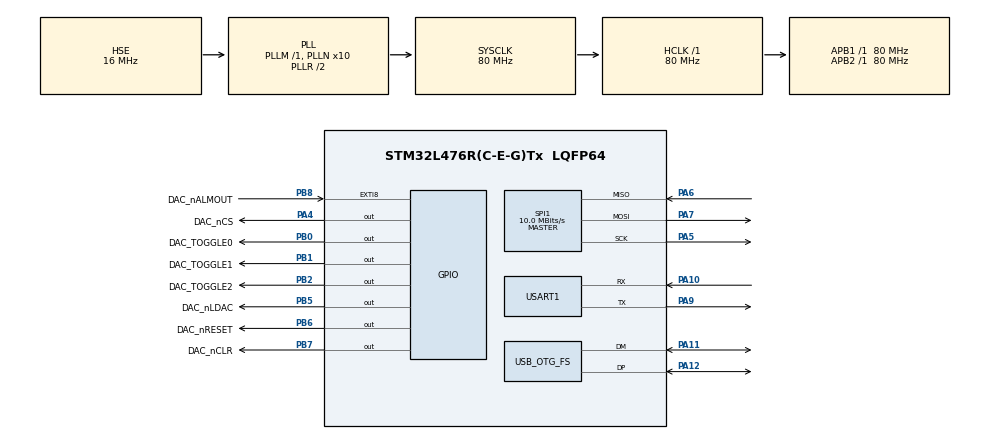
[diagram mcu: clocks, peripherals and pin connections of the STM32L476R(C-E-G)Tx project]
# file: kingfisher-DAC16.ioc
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CRC.CRCLength=CRC_POLYLENGTH_8B
CRC.DefaultInitValueUse=DEFAULT_INIT_VALUE_DISABLE
CRC.DefaultPolynomialUse=DEFAULT_POLYNOMIAL_DISABLE
Dma.MEMTOMEM.4.Direction=DMA_MEMORY_TO_MEMORY
Dma.MEMTOMEM.4.Instance=DMA1_Channel1
Dma.MEMTOMEM.4.MemDataAlignment=DMA_MDATAALIGN_BYTE
Dma.MEMTOMEM.4.MemInc=DMA_MINC_ENABLE
Dma.MEMTOMEM.4.Mode=DMA_NORMAL
Dma.MEMTOMEM.4.PeriphDataAlignment=DMA_PDATAALIGN_BYTE
Dma.MEMTOMEM.4.PeriphInc=DMA_PINC_ENABLE
Dma.MEMTOMEM.4.Priority=DMA_PRIORITY_LOW
Dma.Request0=SPI1_TX
Dma.Request1=SPI1_RX
Dma.Request2=USART1_TX
Dma.Request3=USART1_RX
Dma.Request4=MEMTOMEM
Dma.SPI1_RX.1.Direction=DMA_PERIPH_TO_MEMORY
Dma.SPI1_RX.1.Instance=DMA1_Channel2
Dma.SPI1_RX.1.MemDataAlignment=DMA_MDATAALIGN_BYTE
Dma.SPI1_RX.1.MemInc=DMA_MINC_ENABLE
Dma.SPI1_RX.1.Mode=DMA_NORMAL
Dma.SPI1_RX.1.PeriphDataAlignment=DMA_PDATAALIGN_BYTE
Dma.SPI1_RX.1.PeriphInc=DMA_PINC_DISABLE
Dma.SPI1_RX.1.Priority=DMA_PRIORITY_LOW
Dma.SPI1_TX.0.Direction=DMA_MEMORY_TO_PERIPH
Dma.SPI1_TX.0.Instance=DMA1_Channel3
Dma.SPI1_TX.0.MemDataAlignment=DMA_MDATAALIGN_BYTE
Dma.SPI1_TX.0.MemInc=DMA_MINC_ENABLE
Dma.SPI1_TX.0.Mode=DMA_NORMAL
Dma.SPI1_TX.0.PeriphDataAlignment=DMA_PDATAALIGN_BYTE
Dma.SPI1_TX.0.PeriphInc=DMA_PINC_DISABLE
Dma.SPI1_TX.0.Priority=DMA_PRIORITY_LOW
Dma.USART1_RX.3.Direction=DMA_PERIPH_TO_MEMORY
Dma.USART1_RX.3.Instance=DMA1_Channel5
Dma.USART1_RX.3.MemDataAlignment=DMA_MDATAALIGN_BYTE
Dma.USART1_RX.3.MemInc=DMA_MINC_ENABLE
Dma.USART1_RX.3.Mode=DMA_NORMAL
Dma.USART1_RX.3.PeriphDataAlignment=DMA_PDATAALIGN_BYTE
Dma.USART1_RX.3.PeriphInc=DMA_PINC_DISABLE
Dma.USART1_RX.3.Priority=DMA_PRIORITY_LOW
Dma.USART1_TX.2.Direction=DMA_MEMORY_TO_PERIPH
Dma.USART1_TX.2.Instance=DMA1_Channel4
Dma.USART1_TX.2.MemDataAlignment=DMA_MDATAALIGN_BYTE
Dma.USART1_TX.2.MemInc=DMA_MINC_ENABLE
Dma.USART1_TX.2.Mode=DMA_NORMAL
Dma.USART1_TX.2.PeriphDataAlignment=DMA_PDATAALIGN_BYTE
Dma.USART1_TX.2.PeriphInc=DMA_PINC_DISABLE
Dma.USART1_TX.2.Priority=DMA_PRIORITY_LOW
Mcu.Family=STM32L4
Mcu.Name=STM32L476R(C-E-G)Tx
Mcu.Package=LQFP64
NVIC.DMA1_Channel2_IRQn=true\:0\:0\:false\:false\:true\:false\:true\:true
NVIC.DMA1_Channel3_IRQn=true\:0\:0\:false\:false\:true\:false\:true\:true
NVIC.DMA1_Channel4_IRQn=true\:0\:0\:false\:false\:true\:false\:true\:true
NVIC.DMA1_Channel5_IRQn=true\:0\:0\:false\:false\:true\:false\:true\:true
NVIC.OTG_FS_IRQn=true\:0\:0\:false\:false\:true\:false\:true\:true
NVIC.PriorityGroup=NVIC_PRIORITYGROUP_4
NVIC.TIM1_UP_TIM16_IRQn=true\:15\:0\:false\:false\:true\:false\:true\:true
NVIC.TimeBase=TIM1_UP_TIM16_IRQn
NVIC.TimeBaseIP=TIM1
PA10.Mode=Asynchronous
PA10.Signal=USART1_RX
PA11.Mode=Device_Only
PA11.Signal=USB_OTG_FS_DM
PA12.Mode=Device_Only
PA12.Signal=USB_OTG_FS_DP
PA13\ (JTMS-SWDIO).Mode=Trace_Asynchronous_SW
PA13\ (JTMS-SWDIO).Signal=SYS_JTMS-SWDIO
PA14\ (JTCK-SWCLK).Mode=Trace_Asynchronous_SW
PA14\ (JTCK-SWCLK).Signal=SYS_JTCK-SWCLK
PA4.GPIO_Label=DAC_nCS
PA4.Signal=GPIO_Output
PA5.Mode=Full_Duplex_Master
PA5.Signal=SPI1_SCK
PA6.Mode=Full_Duplex_Master
PA6.Signal=SPI1_MISO
PA7.Mode=Full_Duplex_Master
PA7.Signal=SPI1_MOSI
PA9.Mode=Asynchronous
PA9.Signal=USART1_TX
PB0.GPIO_Label=DAC_TOGGLE0
PB0.Signal=GPIO_Output
PB1.GPIO_Label=DAC_TOGGLE1
PB1.Signal=GPIO_Output
PB2.GPIO_Label=DAC_TOGGLE2
PB2.Signal=GPIO_Output
PB3\ (JTDO-TRACESWO).Mode=Trace_Asynchronous_SW
PB3\ (JTDO-TRACESWO).Signal=SYS_JTDO-SWO
PB5.GPIO_Label=DAC_nLDAC
PB5.Signal=GPIO_Output
PB6.GPIO_Label=DAC_nRESET
PB6.Signal=GPIO_Output
PB7.GPIO_Label=DAC_nCLR
PB7.Signal=GPIO_Output
PB8.GPIO_Label=DAC_nALMOUT
PB8.Signal=GPXTI8
PH0-OSC_IN\ (PH0).Mode=HSE-External-Oscillator
PH0-OSC_IN\ (PH0).Signal=RCC_OSC_IN
PH1-OSC_OUT\ (PH1).Mode=HSE-External-Oscillator
PH1-OSC_OUT\ (PH1).Signal=RCC_OSC_OUT
ProjectManager.HeapSize=0x200
ProjectManager.StackSize=0x400
ProjectManager.TargetToolchain=STM32CubeIDE
RCC.ADCFreq_Value=96000000
RCC.AHBFreq_Value=80000000
RCC.APB1Freq_Value=80000000
RCC.APB1TimFreq_Value=80000000
RCC.APB2Freq_Value=80000000
RCC.APB2TimFreq_Value=80000000
RCC.CortexFreq_Value=80000000
RCC.HCLKFreq_Value=80000000
RCC.HSE_VALUE=16000000
RCC.HSI_VALUE=16000000
RCC.LSE_VALUE=32768
RCC.MSI_VALUE=4000000
RCC.PLLN=10
RCC.PLLSAI1N=12
RCC.PLLSAI1Q=RCC_PLLQ_DIV4
RCC.PLLSourceVirtual=RCC_PLLSOURCE_HSE
RCC.SYSCLKFreq_VALUE=80000000
RCC.SYSCLKSource=RCC_SYSCLKSOURCE_PLLCLK
RCC.USBFreq_Value=48000000
RCC.VCOOutputFreq_Value=160000000
SPI1.BaudRatePrescaler=SPI_BAUDRATEPRESCALER_8
SPI1.CLKPhase=SPI_PHASE_2EDGE
SPI1.CRCCalculation=SPI_CRCCALCULATION_DISABLE
SPI1.CalculateBaudRate=10.0 MBits/s
SPI1.DataSize=SPI_DATASIZE_8BIT
SPI1.Direction=SPI_DIRECTION_2LINES
SPI1.Mode=SPI_MODE_MASTER
SPI1.TIMode=SPI_TIMODE_DISABLE
SPI1.VirtualType=VM_MASTER
USART1.VirtualMode-Asynchronous=VM_ASYNC
USB_DEVICE.CLASS_NAME_FS=CDC
USB_DEVICE.MANUFACTURER_STRING=emon.no
USB_DEVICE.PRODUCT_STRING_CDC_FS=KINGFISHER-DAC16
USB_DEVICE.VirtualMode=Cdc
USB_DEVICE.VirtualModeFS=Cdc_FS
USB_OTG_FS.VirtualMode=Device_Only
VP_CRC_VS_CRC.Mode=CRC_Activate
VP_SYS_VS_tim1.Mode=TIM1
VP_USB_DEVICE_VS_USB_DEVICE_CDC_FS.Mode=CDC_FS
board=custom

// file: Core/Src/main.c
/* USER CODE BEGIN Header */
/**
 ******************************************************************************
 * @file           : main.c
 * @brief          : Main program body
 ******************************************************************************
 * @attention
 *
 * Copyright (c) 2024 STMicroelectronics.
 * All rights reserved.
 *
 * This software is licensed under terms that can be found in the LICENSE file
 * in the root directory of this software component.
 * If no LICENSE file comes with this software, it is provided AS-IS.
 *
 ******************************************************************************
 */
/* USER CODE END Header */
#include "main.h"
#include "usb_device.h"

/* USER CODE BEGIN Includes */
//#include "DACx1416_dep.h"
#include "DACx1416.h"
#include "DACx1416_port.h"
#include "usb_device.h"
#include "usbd_cdc_if.h"

#include "fifo_queue.h"
#include "slip.h"
#include "cmdParser.h"
/* USER CODE END Includes */

CRC_HandleTypeDef hcrc;

SPI_HandleTypeDef hspi1;
DMA_HandleTypeDef hdma_spi1_tx;
DMA_HandleTypeDef hdma_spi1_rx;

UART_HandleTypeDef huart1;
DMA_HandleTypeDef hdma_usart1_tx;
DMA_HandleTypeDef hdma_usart1_rx;

DMA_HandleTypeDef hdma_memtomem_dma1_channel1;
/* USER CODE BEGIN PV */
DACx1416 dacUnit;
volatile uint8_t dacUseCRC = 0;
volatile uint8_t dacTransferComplete = 1;

extern uint8_t UserRxBufferFS[APP_RX_DATA_SIZE];
FIFOQueue *cdcRxQueue;
SLIP_HandleTypeDef slip;

/* USER CODE END PV */

void SystemClock_Config(void);
static void MX_GPIO_Init(void);
static void MX_DMA_Init(void);
static void MX_SPI1_Init(void);
static void MX_USART1_UART_Init(void);
static void MX_CRC_Init(void);

/* USER CODE BEGIN 0 */

// Function to receive a single character from the CDC Rx queue
// Function to receive a single character from the CDC Rx queue (blocking)
char cdc_recv_char(void) {
    while (isEmpty(cdcRxQueue)) {
        // Wait for data to be available in the queue
        HAL_Delay(1); // Sleep for 1 ms (adjust based on your system requirements)
    }

    void *value = dequeue(cdcRxQueue);
    if (!value) {
        //printf("Failed to dequeue from CDC Rx queue.\n");
        return 0xFF;  // Return an error value if dequeue fails
    }

    // Bytes are stored as pointer-sized tagged values (byte + 1) in the CDC RX queue.
    uint8_t result = (uint8_t)(((uintptr_t)value) - 1U);
    return result;            // Return the dequeued value
}

void cdc_send_char(char ch) {
    // Cast the char to uint8_t* by passing the address of ch
    while (CDC_Transmit_FS((uint8_t*)&ch, 1) != USBD_OK) {
        // Send the character as a byte over USB
    }
}
// Function called when data is received via USB
/* USER CODE END 0 */

int main(void)
{

  /* MCU Configuration--------------------------------------------------------*/

  /* Reset of all peripherals, Initializes the Flash interface and the Systick. */
  HAL_Init();

  /* Configure the system clock */
  SystemClock_Config();

  /* Initialize all configured peripherals */
  MX_GPIO_Init();
  MX_DMA_Init();
  MX_SPI1_Init();
  MX_USART1_UART_Init();
  MX_USB_DEVICE_Init();
  MX_CRC_Init();
  /* USER CODE BEGIN 2 */
	//HAL_NVIC_SetPriority(SPI1_IRQn, 1, 0);
	//HAL_NVIC_EnableIRQ(SPI1_IRQn);
	dacUnit.port.SPI_transmit = DACx1416_SPI_transmit;
	dacUnit.port.SPI_receive = DACx1416_SPI_receive;
	dacUnit.port.SPI_transmitReceive = DACx1416_SPI_transmitReceive;
	dacUnit.port.nCS = DACx1416_nCS;
	dacUnit.port.nLDAC = DACx1416_nLDAC;
	dacUnit.port.nRESET = DACx1416_nRESET;
	dacUnit.port.nCLR = DACx1416_nCLR;
	dacUnit.port.TGL = DACx1416_tgl;
	dacUnit.port.calculate_crc8 = DACx1416_calculate_crc8;

	DACx1416_initialize(&dacUnit);

//	uint16_t temp;
//	uint16_t temp2;
////
////
////	DACx1416_read_register(&dacUnit, 0x01, &temp2);
////
////	DACx1416_read_register(&dacUnit, DACx1416_REG_SPICONFIG, &temp2);
////
//	temp = 0x1A2A;
//	DACx1416_write_register(&dacUnit, DACx1416_REG_DACPWDWN, &temp);
//	DACx1416_read_register(&dacUnit, DACx1416_REG_DACPWDWN, &temp2);
////
////
//	temp = 0x2A3A;
//	DACx1416_write_register(&dacUnit, DACx1416_REG_DACPWDWN, &temp);
//	DACx1416_read_register(&dacUnit, DACx1416_REG_DACPWDWN, &temp2);
//

//
//	DACx1416_read_register(&dacUnit, DACx1416_REG_SPICONFIG, &temp2);
//
//
//	temp = 0x3A4A;
//	DACx1416_write_register(&dacUnit, DACx1416_REG_DACPWDWN, &temp);
//	DACx1416_read_register(&dacUnit, DACx1416_REG_DACPWDWN, &temp2);
//
//
//	DACx1416_devicePowerDown(&dacUnit, 0);
//	DACx1416_channelRange(&dacUnit, DACx1416_DAC0, DACx1416_DACRANGE_0_to_p5);
//
//	DACx1416_devicePowerDown(&dacUnit, 1);
//	DACx1416_devicePowerDown(&dacUnit, 0);
//
//	DACx1416_channelEnable(&dacUnit, DACx1416_DAC0, 1);
////
////
//	DACx1416_crcEnable(&dacUnit, 0);
//
//	DACx1416_channelValue(&dacUnit, DACx1416_DAC0, 5000);
//	DACx1416_channelValue(&dacUnit, DACx1416_DAC0, 16383);
//	DACx1416_channelValue(&dacUnit, DACx1416_DAC0, 44000);
//	DACx1416_channelValue(&dacUnit, DACx1416_DAC0, 60000);
//	DACx1416_channelValue(&dacUnit, DACx1416_DAC0, 65535);
////

	cdcRxQueue = createQueue();
	if (!cdcRxQueue) {
		//printf("Failed to initialize the global queue.\n");
		return 1;
	}

	slip.recv_char = cdc_recv_char;
	slip.send_char = cdc_send_char;

//
//	asm("nop");
//	asm("nop");
//	asm("nop");

  /* USER CODE END 2 */

  /* Infinite loop */
  /* USER CODE BEGIN WHILE */
	uint8_t slipRxData[1024];
	uint8_t slipTxData[1024] = "HELLO";

	while (1) {
//
//		char c = cdc_recv_char();
//		printf(&c);
//		printf("\r\n");
		//cdc_send_char(c);

		uint32_t len = slip_recv_packet(&slip, slipRxData, sizeof(slipRxData));

		if (len > 0){
			//DACx1416_SPI_transmitReceive((slipRxData, slipTxData, len));
			parseCmd(&slip, slipRxData, len);
			//slip_send_packet(&slip, slipTxData, len);
		}

    /* USER CODE END WHILE */

	}
}

void SystemClock_Config(void)
{
  RCC_OscInitTypeDef RCC_OscInitStruct = {0};
  RCC_ClkInitTypeDef RCC_ClkInitStruct = {0};

  /** Configure the main internal regulator output voltage
  */
  if (HAL_PWREx_ControlVoltageScaling(PWR_REGULATOR_VOLTAGE_SCALE1) != HAL_OK)
  {
    Error_Handler();
  }

  /** Initializes the RCC Oscillators according to the specified parameters
  * in the RCC_OscInitTypeDef structure.
  */
  RCC_OscInitStruct.OscillatorType = RCC_OSCILLATORTYPE_HSE;
  RCC_OscInitStruct.HSEState = RCC_HSE_ON;
  RCC_OscInitStruct.PLL.PLLState = RCC_PLL_ON;
  RCC_OscInitStruct.PLL.PLLSource = RCC_PLLSOURCE_HSE;
  RCC_OscInitStruct.PLL.PLLM = 1;
  RCC_OscInitStruct.PLL.PLLN = 10;
  RCC_OscInitStruct.PLL.PLLP = RCC_PLLP_DIV7;
  RCC_OscInitStruct.PLL.PLLQ = RCC_PLLQ_DIV2;
  RCC_OscInitStruct.PLL.PLLR = RCC_PLLR_DIV2;
  if (HAL_RCC_OscConfig(&RCC_OscInitStruct) != HAL_OK)
  {
    Error_Handler();
  }

  /** Initializes the CPU, AHB and APB buses clocks
  */
  RCC_ClkInitStruct.ClockType = RCC_CLOCKTYPE_HCLK|RCC_CLOCKTYPE_SYSCLK
                              |RCC_CLOCKTYPE_PCLK1|RCC_CLOCKTYPE_PCLK2;
  RCC_ClkInitStruct.SYSCLKSource = RCC_SYSCLKSOURCE_PLLCLK;
  RCC_ClkInitStruct.AHBCLKDivider = RCC_SYSCLK_DIV1;
  RCC_ClkInitStruct.APB1CLKDivider = RCC_HCLK_DIV1;
  RCC_ClkInitStruct.APB2CLKDivider = RCC_HCLK_DIV1;

  if (HAL_RCC_ClockConfig(&RCC_ClkInitStruct, FLASH_LATENCY_4) != HAL_OK)
  {
    Error_Handler();
  }
}

static void MX_CRC_Init(void)
{

  hcrc.Instance = CRC;
  hcrc.Init.DefaultPolynomialUse = DEFAULT_POLYNOMIAL_DISABLE;
  hcrc.Init.DefaultInitValueUse = DEFAULT_INIT_VALUE_DISABLE;
  hcrc.Init.GeneratingPolynomial = 7;
  hcrc.Init.CRCLength = CRC_POLYLENGTH_8B;
  hcrc.Init.InitValue = 0;
  hcrc.Init.InputDataInversionMode = CRC_INPUTDATA_INVERSION_NONE;
  hcrc.Init.OutputDataInversionMode = CRC_OUTPUTDATA_INVERSION_DISABLE;
  hcrc.InputDataFormat = CRC_INPUTDATA_FORMAT_BYTES;
  if (HAL_CRC_Init(&hcrc) != HAL_OK)
  {
    Error_Handler();
  }

}

static void MX_SPI1_Init(void)
{

  /* SPI1 parameter configuration*/
  hspi1.Instance = SPI1;
  hspi1.Init.Mode = SPI_MODE_MASTER;
  hspi1.Init.Direction = SPI_DIRECTION_2LINES;
  hspi1.Init.DataSize = SPI_DATASIZE_8BIT;
  hspi1.Init.CLKPolarity = SPI_POLARITY_LOW;
  hspi1.Init.CLKPhase = SPI_PHASE_2EDGE;
  hspi1.Init.NSS = SPI_NSS_SOFT;
  hspi1.Init.BaudRatePrescaler = SPI_BAUDRATEPRESCALER_8;
  hspi1.Init.FirstBit = SPI_FIRSTBIT_MSB;
  hspi1.Init.TIMode = SPI_TIMODE_DISABLE;
  hspi1.Init.CRCCalculation = SPI_CRCCALCULATION_DISABLE;
  hspi1.Init.CRCPolynomial = 7;
  hspi1.Init.CRCLength = SPI_CRC_LENGTH_DATASIZE;
  hspi1.Init.NSSPMode = SPI_NSS_PULSE_DISABLE;
  if (HAL_SPI_Init(&hspi1) != HAL_OK)
  {
    Error_Handler();
  }

}

static void MX_USART1_UART_Init(void)
{

  huart1.Instance = USART1;
  huart1.Init.BaudRate = 115200;
  huart1.Init.WordLength = UART_WORDLENGTH_8B;
  huart1.Init.StopBits = UART_STOPBITS_1;
  huart1.Init.Parity = UART_PARITY_NONE;
  huart1.Init.Mode = UART_MODE_TX_RX;
  huart1.Init.HwFlowCtl = UART_HWCONTROL_NONE;
  huart1.Init.OverSampling = UART_OVERSAMPLING_16;
  huart1.Init.OneBitSampling = UART_ONE_BIT_SAMPLE_DISABLE;
  huart1.AdvancedInit.AdvFeatureInit = UART_ADVFEATURE_NO_INIT;
  if (HAL_UART_Init(&huart1) != HAL_OK)
  {
    Error_Handler();
  }

}

static void MX_DMA_Init(void)
{

  /* DMA controller clock enable */
  __HAL_RCC_DMA1_CLK_ENABLE();

  /* Configure DMA request hdma_memtomem_dma1_channel1 on DMA1_Channel1 */
  hdma_memtomem_dma1_channel1.Instance = DMA1_Channel1;
  hdma_memtomem_dma1_channel1.Init.Request = DMA_REQUEST_0;
  hdma_memtomem_dma1_channel1.Init.Direction = DMA_MEMORY_TO_MEMORY;
  hdma_memtomem_dma1_channel1.Init.PeriphInc = DMA_PINC_ENABLE;
  hdma_memtomem_dma1_channel1.Init.MemInc = DMA_MINC_ENABLE;
  hdma_memtomem_dma1_channel1.Init.PeriphDataAlignment = DMA_PDATAALIGN_BYTE;
  hdma_memtomem_dma1_channel1.Init.MemDataAlignment = DMA_MDATAALIGN_BYTE;
  hdma_memtomem_dma1_channel1.Init.Mode = DMA_NORMAL;
  hdma_memtomem_dma1_channel1.Init.Priority = DMA_PRIORITY_LOW;
  if (HAL_DMA_Init(&hdma_memtomem_dma1_channel1) != HAL_OK)
  {
    Error_Handler( );
  }

  /* DMA interrupt init */
  /* DMA1_Channel2_IRQn interrupt configuration */
  HAL_NVIC_SetPriority(DMA1_Channel2_IRQn, 0, 0);
  HAL_NVIC_EnableIRQ(DMA1_Channel2_IRQn);
  /* DMA1_Channel3_IRQn interrupt configuration */
  HAL_NVIC_SetPriority(DMA1_Channel3_IRQn, 0, 0);
  HAL_NVIC_EnableIRQ(DMA1_Channel3_IRQn);
  /* DMA1_Channel4_IRQn interrupt configuration */
  HAL_NVIC_SetPriority(DMA1_Channel4_IRQn, 0, 0);
  HAL_NVIC_EnableIRQ(DMA1_Channel4_IRQn);
  /* DMA1_Channel5_IRQn interrupt configuration */
  HAL_NVIC_SetPriority(DMA1_Channel5_IRQn, 0, 0);
  HAL_NVIC_EnableIRQ(DMA1_Channel5_IRQn);

}

static void MX_GPIO_Init(void)
{
  GPIO_InitTypeDef GPIO_InitStruct = {0};

  /* GPIO Ports Clock Enable */
  __HAL_RCC_GPIOH_CLK_ENABLE();
  __HAL_RCC_GPIOA_CLK_ENABLE();
  __HAL_RCC_GPIOB_CLK_ENABLE();

  /*Configure GPIO pin Output Level */
  HAL_GPIO_WritePin(DAC_nCS_GPIO_Port, DAC_nCS_Pin, GPIO_PIN_RESET);

  /*Configure GPIO pin Output Level */
  HAL_GPIO_WritePin(GPIOB, DAC_TOGGLE0_Pin|DAC_TOGGLE1_Pin|DAC_TOGGLE2_Pin|DAC_nLDAC_Pin
                          |DAC_nRESET_Pin|DAC_nCLR_Pin, GPIO_PIN_RESET);

  /*Configure GPIO pin : DAC_nCS_Pin */
  GPIO_InitStruct.Pin = DAC_nCS_Pin;
  GPIO_InitStruct.Mode = GPIO_MODE_OUTPUT_PP;
  GPIO_InitStruct.Pull = GPIO_NOPULL;
  GPIO_InitStruct.Speed = GPIO_SPEED_FREQ_LOW;
  HAL_GPIO_Init(DAC_nCS_GPIO_Port, &GPIO_InitStruct);

  /*Configure GPIO pins : DAC_TOGGLE0_Pin DAC_TOGGLE1_Pin DAC_TOGGLE2_Pin DAC_nLDAC_Pin
                           DAC_nRESET_Pin DAC_nCLR_Pin */
  GPIO_InitStruct.Pin = DAC_TOGGLE0_Pin|DAC_TOGGLE1_Pin|DAC_TOGGLE2_Pin|DAC_nLDAC_Pin
                          |DAC_nRESET_Pin|DAC_nCLR_Pin;
  GPIO_InitStruct.Mode = GPIO_MODE_OUTPUT_PP;
  GPIO_InitStruct.Pull = GPIO_NOPULL;
  GPIO_InitStruct.Speed = GPIO_SPEED_FREQ_LOW;
  HAL_GPIO_Init(GPIOB, &GPIO_InitStruct);

  /*Configure GPIO pin : DAC_nALMOUT_Pin */
  GPIO_InitStruct.Pin = DAC_nALMOUT_Pin;
  GPIO_InitStruct.Mode = GPIO_MODE_IT_RISING;
  GPIO_InitStruct.Pull = GPIO_NOPULL;
  HAL_GPIO_Init(DAC_nALMOUT_GPIO_Port, &GPIO_InitStruct);

}

/* USER CODE BEGIN 4 */
int __io_putchar(int ch) {
	// Write character to ITM ch.0
	ITM_SendChar(ch);
	return (ch);
}

/* USER CODE END 4 */

void HAL_TIM_PeriodElapsedCallback(TIM_HandleTypeDef *htim)
{
  if (htim->Instance == TIM1) {
    HAL_IncTick();
  }
}

void Error_Handler(void)
{
	__disable_irq();
	while (1) {
	}
}
